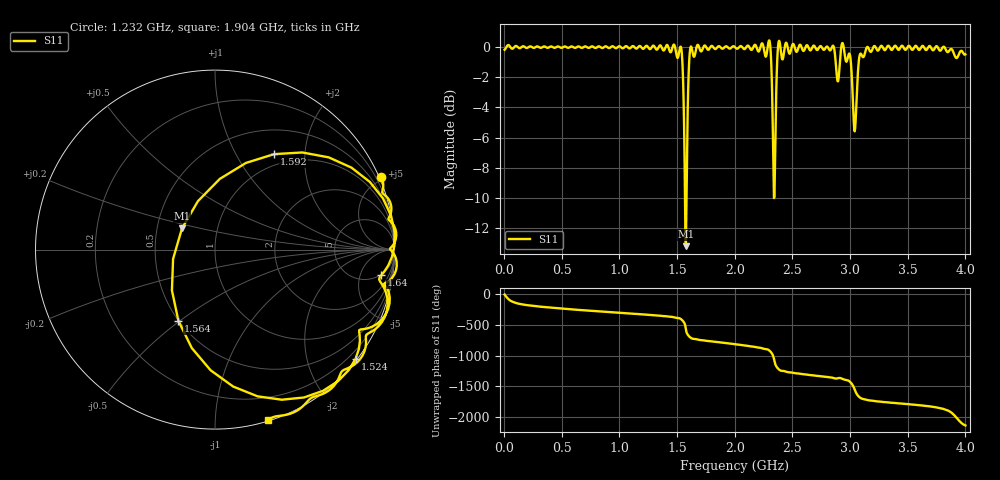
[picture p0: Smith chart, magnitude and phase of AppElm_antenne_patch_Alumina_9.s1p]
! TOUCHSTONE file generated by CST MICROWAVE STUDIO
! Date and time: Thu Jun  9 09:13:19 2022
! Project name: AppElm_antenne_patch_Alumina.cst
! Parameters = {L=30.5; W=41.8; e=0.035; h=1.6; lambda=0.190476; ls=90; w0=1.288; w1=0.373; ws=90; y0=14; y1=10}
! Header version: 2018
! Port assignment regex: !\s*Touchstone port\s*([0-9]+)\s*=\s*(CST MWS port|CST DS port)\s*([0-9]+|Zmin|Zmax)\s*\(\"(.*)\"\)(\s*mode\s*([0-9]+))?.*
! Touchstone port assignment:
! Touchstone port 1 = CST MWS port 1 ("")
# GHz S MA R 50
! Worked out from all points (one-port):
!   1000 points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, 4 MHz to 4 GHz, reference 50 ohm
!   lowest |S11| = -13.2 dB at 1.576 GHz (marker M1), VSWR 1.56, Z = 33.6 + j8.34 ohm
!   |S11| at or under -10 dB: 1.569 GHz to 1.581 GHz (12.68 MHz wide, 0.805 % of centre); 2.339966 GHz to 2.340556 GHz (590.5 kHz wide, 0.0252 % of centre)
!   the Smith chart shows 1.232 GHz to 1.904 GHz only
!   S11 on the Smith chart (normalised r, x): 1.232 GHz: -0.12, +4.80; 1.524 GHz: 0.04, -2.91; 1.564 GHz: 0.50, -0.49; 1.592 GHz: 0.83, +1.45; 1.64 GHz: 5, -11; 1.904 GHz: 0.01, -1.36
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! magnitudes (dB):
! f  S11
! 4 MHz  -0.2
! 504 MHz  0.0
! 1.004 GHz  0.1
! 1.232 GHz  0.1
! 1.504 GHz  -0.7
! 1.524 GHz  -0.1
! 1.544 GHz  -0.8
! 1.564 GHz  -7.0
! 1.576 GHz  -13.2
! 1.592 GHz  -4.1
! 1.612 GHz  -0.2
! 1.64 GHz  -0.6
! 1.904 GHz  -0.1
! 2.004 GHz  0.0
! 2.296 GHz  0.4
! 2.308 GHz  0.1
! 2.34 GHz  -10.0
! 2.352 GHz  -6.1
! 2.384 GHz  0.4
! 2.504 GHz  0.2
! 2.844 GHz  0.0
! 2.892 GHz  -2.3
! 2.936 GHz  0.3
! 3.004 GHz  -0.8
! 3.04 GHz  -5.6
! 3.096 GHz  -0.5
! 3.504 GHz  0.1
! 4 GHz  -0.5
